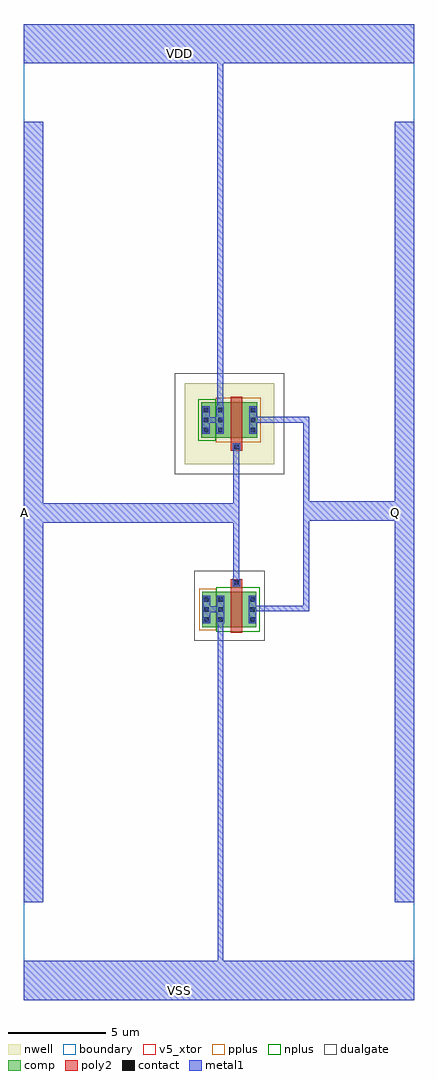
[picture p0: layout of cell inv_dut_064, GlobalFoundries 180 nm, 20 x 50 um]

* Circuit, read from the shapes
.subckt inv_dut_064 A Q VDD VSS
XM1 Q A VSS VSS nfet_05v0 w=1.8u l=0.6u
XM2 Q A VDD VDD pfet_05v0 w=1.8u l=0.6u
.ends

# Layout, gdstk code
from math import pi, radians
import gdstk
lib = gdstk.Library(unit=1e-6, precision=1e-09)
def R(c, l, rs):  # rectangles x0, y0, x1, y1
    for r in rs: c.add(gdstk.rectangle(r[:2], r[2:], *l))
def A(c, l, x, y, w, h, nx, ny, dx, dy):  # array of equal rectangles
    R(c, l, [(x+i*dx, y+j*dy, x+i*dx+w, y+j*dy+h) for i in range(nx) for j in range(ny)])
boundary = (0, 0)
nwell = (21, 0)
comp = (22, 0)
poly2 = (30, 0)
pplus = (31, 0)
nplus = (32, 0)
contact = (33, 0)
metal1 = (34, 0)
dualgate = (55, 0)
v5_xtor = (112, 1)

nfet = lib.new_cell('nfet')
R(nfet, comp, [(-0.42,0,2.35,1.8)])
R(nfet, poly2, [(0.31,-0.3,0.91,2.46)])
R(nfet, pplus, [(1.64,-0.17,2.52,1.97)])
R(nfet, nplus, [(-0.59,-0.24,1.64,2.04)])
A(nfet, contact, -0.32, 0.28, 0.22, 0.22, 1, 3, 0, 0.51)
A(nfet, contact, 1.32, 0.28, 0.22, 0.22, 1, 3, 0, 0.51)
A(nfet, contact, 2.03, 0.28, 0.22, 0.22, 1, 3, 0, 0.51)
R(nfet, contact, [(0.5,2.17,0.72,2.39)])
R(nfet, metal1, [(-0.4,0.2,-0.02,1.6), (1.24,0.2,1.62,1.6), (1.95,0.2,2.33,1.6), (0.42,2.09,0.8,2.47)])
R(nfet, dualgate, [(-0.84,-0.71,2.77,2.88)])
R(nfet, v5_xtor, [(-0.84,-0.71,2.77,2.88)])

pfet = lib.new_cell('pfet')
R(pfet, nwell, [(-1.32,-1.37,3.27,2.79)])
R(pfet, comp, [(-0.46,0,2.41,1.8)])
R(pfet, poly2, [(0.31,-0.68,0.91,2.1)])
R(pfet, pplus, [(-0.63,-0.24,1.68,2.04)])
R(pfet, nplus, [(1.68,-0.17,2.58,1.97)])
A(pfet, contact, -0.34, 0.28, 0.22, 0.22, 1, 3, 0, 0.51)
A(pfet, contact, 1.34, 0.28, 0.22, 0.22, 1, 3, 0, 0.51)
A(pfet, contact, 2.07, 0.28, 0.22, 0.22, 1, 3, 0, 0.51)
R(pfet, contact, [(0.5,-0.6,0.72,-0.38)])
R(pfet, metal1, [(0.42,-0.68,0.8,-0.3), (-0.42,0.2,-0.04,1.6), (1.26,0.2,1.64,1.6), (1.99,0.2,2.37,1.6)])
R(pfet, dualgate, [(-1.82,-1.87,3.77,3.29)])
R(pfet, v5_xtor, [(-1.82,-1.87,3.77,3.29)])

inv_dut_064 = lib.new_cell('inv_dut_064')
R(inv_dut_064, boundary, [(-10,-25,10,25)])
R(inv_dut_064, metal1, [(-10,-25,10,-23), (-10,-20,-9,20), (9,-20,10,20), (-10,23,10,25)])
inv_dut_064.add(gdstk.FlexPath([(-0.82,-4.98),(0.26,-4.98)], 0.3, ends="flush", simple_path=True, layer=34, datatype=0))  # metal1
inv_dut_064.add(gdstk.FlexPath([(-0.775,4.715),(0.17,4.715)], 0.3, ends="flush", simple_path=True, layer=34, datatype=0))  # metal1
inv_dut_064.add(gdstk.FlexPath([(0.065,5.11),(0.065,24.15),(0.103,24.188),(0.105,24.185)], 0.3, ends="flush", simple_path=True, layer=34, datatype=0))  # metal1
inv_dut_064.add(gdstk.FlexPath([(0.88,3.34),(0.88,-3.67)], 0.3, ends="flush", simple_path=True, layer=34, datatype=0))  # metal1
inv_dut_064.add(gdstk.FlexPath([(0.075,-5.39),(0.075,-24.13),(0.075,-24.165)], 0.3, ends="flush", simple_path=True, layer=34, datatype=0))  # metal1
inv_dut_064.add(gdstk.FlexPath([(4.59,0.055),(9.505,0.055)], 1, ends="flush", simple_path=True, layer=34, datatype=0))  # metal1
inv_dut_064.add(gdstk.FlexPath([(0.87,-0.04),(-9.83,-0.04)], 1, ends="flush", simple_path=True, layer=34, datatype=0))  # metal1
inv_dut_064.add(gdstk.FlexPath([(1.565,-4.94),(4.485,-4.94)], 0.3, ends="flush", simple_path=True, layer=34, datatype=0))  # metal1
inv_dut_064.add(gdstk.FlexPath([(1.545,4.725),(4.475,4.725),(4.475,-5.08)], 0.3, ends="flush", simple_path=True, layer=34, datatype=0))  # metal1
inv_dut_064.add(gdstk.Reference(nfet, (1.5,-5.895), rotation=pi, x_reflection=True))
inv_dut_064.add(gdstk.Reference(pfet, (1.51,3.815), rotation=pi, x_reflection=True))
inv_dut_064.add(gdstk.Label('VDD', (-2,23.5), layer=34, texttype=10))
inv_dut_064.add(gdstk.Label('VSS', (-2,-24.5), layer=34, texttype=10))
inv_dut_064.add(gdstk.Label('A', (-9.97,0), layer=34, texttype=10))
inv_dut_064.add(gdstk.Label('Q', (9.03,0), layer=34, texttype=10))

lib.write_gds('inv_dut_064.gds')
